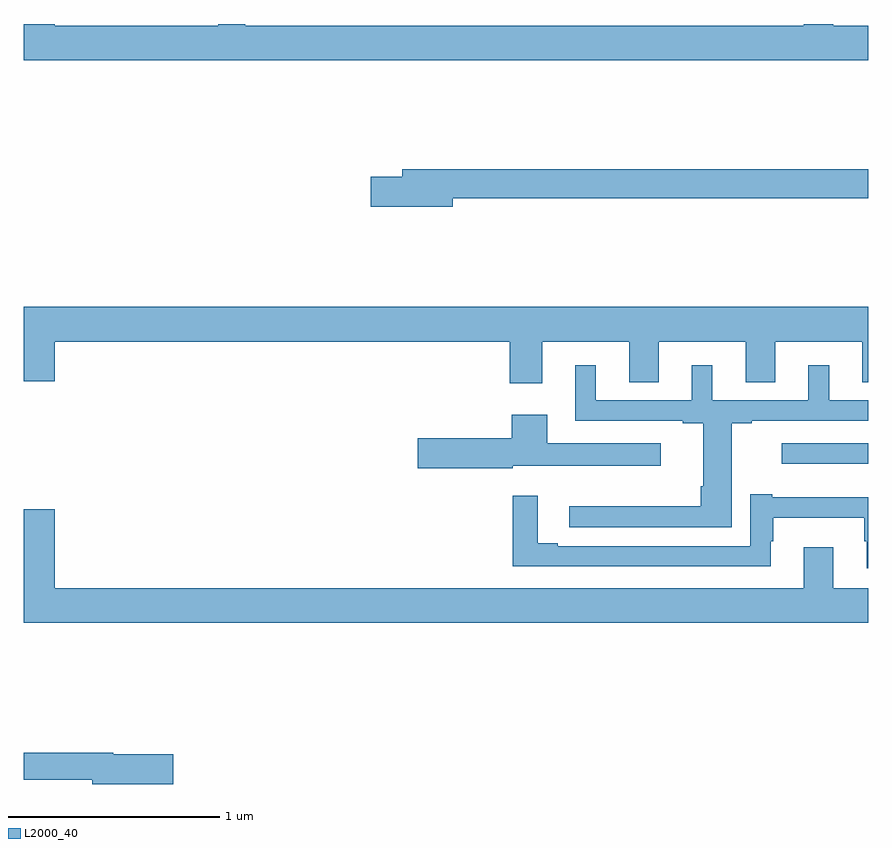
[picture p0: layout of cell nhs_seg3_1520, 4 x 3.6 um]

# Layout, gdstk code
import gdstk
lib = gdstk.Library(unit=1e-6, precision=1e-09)
def R(c, l, rs):  # rectangles x0, y0, x1, y1
    for r in rs: c.add(gdstk.rectangle(r[:2], r[2:], *l))
def P(c, l, *ps):  # polygons
    for p in ps: c.add(gdstk.Polygon(p, *l))
L2000_40 = (2000, 40)

nhs_seg3_1520 = lib.new_cell('nhs_seg3_1520')
R(nhs_seg3_1520, L2000_40, [(192.591,720.317,193,720.414)])
P(nhs_seg3_1520, L2000_40, [(192.695,722.4),(192.695,722.392),(190.049,722.392),(190.049,722.4),(189.921,722.4),(189.921,722.392),(189.148,722.392),(189.148,722.4),(189,722.4),(189,722.228),(193,722.228),(193,722.392),(192.835,722.392),(192.835,722.4)],
  [(191.032,721.576),(193,721.576),(193,721.712),(190.793,721.712),(190.793,721.676),(190.644,721.676),(190.644,721.534),(191.032,721.534)],
  [(191.455,720.896),(191.867,720.896),(191.867,720.703),(192.007,720.703),(192.007,720.896),(192.419,720.896),(192.419,720.703),(192.559,720.703),(192.559,720.896),(192.971,720.896),(192.971,720.703),(193,720.703),(193,721.06),(189,721.06),(189,720.708),(189.148,720.708),(189.148,720.896),(191.303,720.896),(191.303,720.699),(191.455,720.699)],
  [(192.352,720.51),(192.448,720.51),(192.448,720.522),(193,720.522),(193,720.618),(192.814,720.618),(192.814,720.784),(192.716,720.784),(192.716,720.618),(192.262,720.618),(192.262,720.784),(192.164,720.784),(192.164,720.618),(191.71,720.618),(191.71,720.784),(191.612,720.784),(191.612,720.522),(192.122,720.522),(192.122,720.51),(192.218,720.51),(192.218,720.211),(192.206,720.211),(192.206,720.116),(191.583,720.116),(191.583,720.018),(192.352,720.018)],
  [(191.316,720.308),(192.016,720.308),(192.016,720.415),(191.479,720.415),(191.479,720.55),(191.312,720.55),(191.312,720.438),(190.866,720.438),(190.866,720.296),(191.316,720.296)],
  [(193,720.16),(192.544,720.16),(192.544,720.172),(192.441,720.172),(192.441,719.928),(191.53,719.928),(191.53,719.941),(191.434,719.941),(191.434,720.166),(191.317,720.166),(191.317,719.832),(192.538,719.832),(192.538,719.951),(192.55,719.951),(192.55,720.062),(192.981,720.062),(192.981,719.951),(192.992,719.951),(192.992,719.823),(193,719.823)],
  [(193,719.728),(192.835,719.728),(192.835,719.923),(192.695,719.923),(192.695,719.728),(189.148,719.728),(189.148,720.103),(189,720.103),(189,719.564),(193,719.564)],
  [(189.709,718.943),(189.424,718.943),(189.424,718.949),(189,718.949),(189,718.821),(189.324,718.821),(189.324,718.801),(189.709,718.801)])

lib.write_gds('nhs_seg3_1520.gds')
